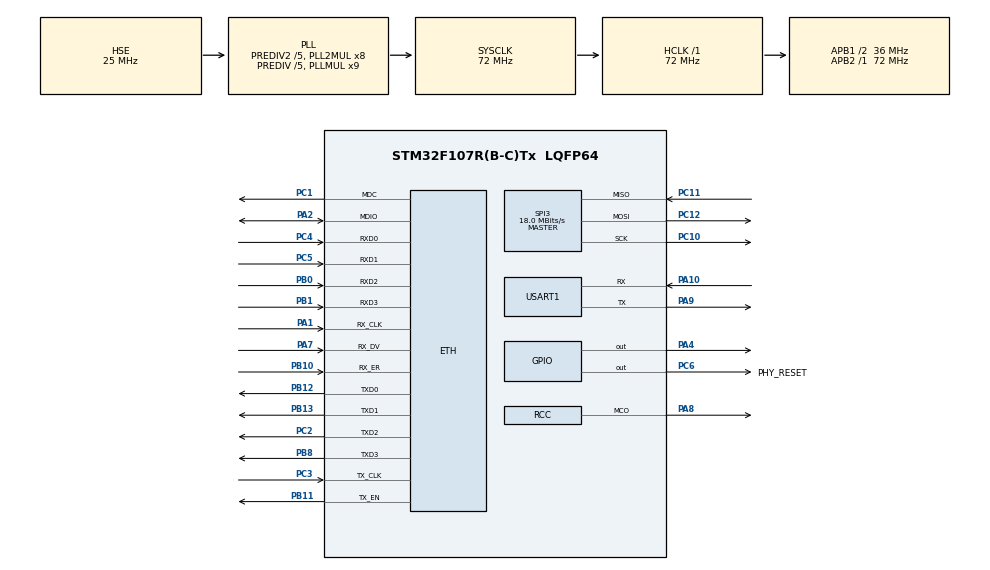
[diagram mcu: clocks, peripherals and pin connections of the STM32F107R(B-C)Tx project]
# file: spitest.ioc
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ETH.MediaInterface=ETH_MEDIA_INTERFACE_MII
LWIP.API_MSG_DEBUG=LWIP_DBG_ON
LWIP.DHCP_DEBUG=LWIP_DBG_ON
LWIP.HTTPD_DEBUG=LWIP_DBG_ON
LWIP.LWIP_HTTPD=1
LWIP.LWIP_HTTPD_CGI=1
LWIP.LWIP_HTTPD_CUSTOM_FILES=1
LWIP.LWIP_HTTPD_DYNAMIC_FILE_READ=1
LWIP.LWIP_HTTPD_DYNAMIC_HEADERS=1
LWIP.LWIP_HTTPD_SSI=1
LWIP.MEMP_NUM_TCP_SEG=24
LWIP.PBUF_DEBUG=LWIP_DBG_ON
LWIP.TCPIP_DEBUG=LWIP_DBG_ON
LWIP.Version=v2.0.0_Cube
Mcu.Family=STM32F1
Mcu.Name=STM32F107R(B-C)Tx
Mcu.Package=LQFP64
NVIC.PriorityGroup=NVIC_PRIORITYGROUP_4
PA1.Mode=MII Full Duplex Only
PA1.Signal=ETH_RX_CLK
PA10.Mode=Asynchronous
PA10.Signal=USART1_RX
PA13.Mode=Serial_Wire
PA13.Signal=SYS_JTMS-SWDIO
PA14.Mode=Serial_Wire
PA14.Signal=SYS_JTCK-SWCLK
PA2.Mode=MII Full Duplex Only
PA2.Signal=ETH_MDIO
PA4.PinState=GPIO_PIN_SET
PA4.Signal=GPIO_Output
PA7.Mode=MII Full Duplex Only
PA7.Signal=ETH_RX_DV
PA8.Mode=Clock-out
PA8.Signal=RCC_MCO
PA9.Mode=Asynchronous
PA9.Signal=USART1_TX
PB0.Mode=MII Full Duplex Only
PB0.Signal=ETH_RXD2
PB1.Mode=MII Full Duplex Only
PB1.Signal=ETH_RXD3
PB10.Mode=Activate Rx Err signal
PB10.Signal=ETH_RX_ER
PB11.Mode=MII Full Duplex Only
PB11.Signal=ETH_TX_EN
PB12.Mode=MII Full Duplex Only
PB12.Signal=ETH_TXD0
PB13.Mode=MII Full Duplex Only
PB13.Signal=ETH_TXD1
PB8.Mode=MII Full Duplex Only
PB8.Signal=ETH_TXD3
PC1.Mode=MII Full Duplex Only
PC1.Signal=ETH_MDC
PC10.Mode=Full_Duplex_Master
PC10.Signal=SPI3_SCK
PC11.Mode=Full_Duplex_Master
PC11.Signal=SPI3_MISO
PC12.Mode=Full_Duplex_Master
PC12.Signal=SPI3_MOSI
PC2.Mode=MII Full Duplex Only
PC2.Signal=ETH_TXD2
PC3.Mode=MII Full Duplex Only
PC3.Signal=ETH_TX_CLK
PC4.Mode=MII Full Duplex Only
PC4.Signal=ETH_RXD0
PC5.Mode=MII Full Duplex Only
PC5.Signal=ETH_RXD1
PC6.GPIO_Label=PHY_RESET
PC6.Signal=GPIO_Output
PD0-OSC_IN.Mode=HSE-External-Oscillator
PD0-OSC_IN.Signal=RCC_OSC_IN
PD1-OSC_OUT.Mode=HSE-External-Oscillator
PD1-OSC_OUT.Signal=RCC_OSC_OUT
ProjectManager.HeapSize=0x200
ProjectManager.StackSize=0x400
ProjectManager.TargetToolchain=MDK-ARM V5
RCC.AHBFreq_Value=72000000
RCC.APB1CLKDivider=RCC_HCLK_DIV2
RCC.APB1Freq_Value=36000000
RCC.APB1TimFreq_Value=72000000
RCC.APB2Freq_Value=72000000
RCC.APB2TimFreq_Value=72000000
RCC.HCLKFreq_Value=72000000
RCC.HSEDivPLL=RCC_HSE_PREDIV_DIV5
RCC.HSE_VALUE=25000000
RCC.PLLMUL=RCC_PLL_MUL9
RCC.PLLSourceVirtual=RCC_PLLSOURCE_HSE
RCC.Prediv1Source=RCC_PREDIV1_SOURCE_PLL2
RCC.Prediv2=RCC_HSE_PREDIV2_DIV5
RCC.RCC_MCOSource=RCC_MCO1SOURCE_HSE
RCC.SYSCLKFreq_VALUE=72000000
RCC.SYSCLKSource=RCC_SYSCLKSOURCE_PLLCLK
RCC.USBFreq_Value=48000000
SPI3.CalculateBaudRate=18.0 MBits/s
SPI3.Direction=SPI_DIRECTION_2LINES
SPI3.Mode=SPI_MODE_MASTER
SPI3.VirtualType=VM_MASTER
USART1.VirtualMode=VM_ASYNC
VP_LWIP_VS_Enabled.Mode=Enabled
board=custom

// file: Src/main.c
/* USER CODE BEGIN Header */
/**
  ******************************************************************************
  * @file           : main.c
  * @brief          : Main program body
  ******************************************************************************
  ** This notice applies to any and all portions of this file
  * that are not between comment pairs USER CODE BEGIN and
  * USER CODE END. Other portions of this file, whether
  * inserted by the user or by software development tools
  * are owned by their respective copyright owners.
  *
  * COPYRIGHT(c) 2018 STMicroelectronics
  *
  * Redistribution and use in source and binary forms, with or without modification,
  * are permitted provided that the following conditions are met:
  *   1. Redistributions of source code must retain the above copyright notice,
  *      this list of conditions and the following disclaimer.
  *   2. Redistributions in binary form must reproduce the above copyright notice,
  *      this list of conditions and the following disclaimer in the documentation
  *      and/or other materials provided with the distribution.
  *   3. Neither the name of STMicroelectronics nor the names of its contributors
  *      may be used to endorse or promote products derived from this software
  *      without specific prior written permission.
  *
  * THIS SOFTWARE IS PROVIDED BY THE COPYRIGHT HOLDERS AND CONTRIBUTORS "AS IS"
  * AND ANY EXPRESS OR IMPLIED WARRANTIES, INCLUDING, BUT NOT LIMITED TO, THE
  * IMPLIED WARRANTIES OF MERCHANTABILITY AND FITNESS FOR A PARTICULAR PURPOSE ARE
  * DISCLAIMED. IN NO EVENT SHALL THE COPYRIGHT HOLDER OR CONTRIBUTORS BE LIABLE
  * FOR ANY DIRECT, INDIRECT, INCIDENTAL, SPECIAL, EXEMPLARY, OR CONSEQUENTIAL
  * DAMAGES (INCLUDING, BUT NOT LIMITED TO, PROCUREMENT OF SUBSTITUTE GOODS OR
  * SERVICES; LOSS OF USE, DATA, OR PROFITS; OR BUSINESS INTERRUPTION) HOWEVER
  * CAUSED AND ON ANY THEORY OF LIABILITY, WHETHER IN CONTRACT, STRICT LIABILITY,
  * OR TORT (INCLUDING NEGLIGENCE OR OTHERWISE) ARISING IN ANY WAY OUT OF THE USE
  * OF THIS SOFTWARE, EVEN IF ADVISED OF THE POSSIBILITY OF SUCH DAMAGE.
  *
  ******************************************************************************
  */
/* USER CODE END Header */

#include "main.h"
#include "lwip.h"
#include "spi.h"
#include "usart.h"
#include "gpio.h"

/* USER CODE BEGIN Includes */
#include "string.h"
#include "w25qxx.h"
#include "lfs.h"
#include "lwip/apps/httpd.h"
#include "lwip/apps/tftp_server.h"
#include "lwip/apps/fs.h"
#include "fsdata.h"

/* USER CODE END Includes */

/* USER CODE BEGIN PTD */

int block_device_read(const struct lfs_config *cfg, lfs_block_t block,
        lfs_off_t off, void *buffer, lfs_size_t size)
{
	W25qxx_ReadBytes((uint8_t*)buffer, (block * cfg->block_size) + off, size);
	return 0;
}

int block_device_prog(const struct lfs_config *c, lfs_block_t block,
	lfs_off_t off, const void *buffer, lfs_size_t size)
{
	W25qxx_WriteNoCheck((uint8_t*)buffer, (block * c->block_size + off), size);

	return 0;
}

int block_device_erase(const struct lfs_config *c, lfs_block_t block)
{
	W25qxx_EraseSector(block * c->block_size);

	return 0;
}

int block_device_sync(const struct lfs_config *c)
{
	return 0;
}

lfs_t lfs;
lfs_file_t file;
struct lfs_config cfg;
struct lfs_info info;

uint8_t lfs_read_buf[2048] = {0};
uint8_t lfs_prog_buf[2048]= {0};
uint8_t lfs_lookahead_buf[2048]= {0};	// 128/8=16
uint8_t lfs_file_buf[2048]= {0};

void LFS_Config(void)
{
	// block device operations
	cfg.read  = &block_device_read;
	cfg.prog  = &block_device_prog;
	cfg.erase = &block_device_erase;
	cfg.sync  = &block_device_sync;

	// block device configuration
	cfg.read_size = 2048;
	cfg.prog_size = 2048;
	cfg.block_size = 4096;
	cfg.block_count = 4096;
	cfg.lookahead = 1024;

	cfg.read_buffer = lfs_read_buf;
	cfg.prog_buffer = lfs_prog_buf;
	cfg.lookahead_buffer = lfs_lookahead_buf;
	cfg.file_buffer = lfs_file_buf;
}

struct tftp_context tftpctx;

void* tftp_open(const char* fname, const char* mode, u8_t write)
{
	lfs_file_t *file = malloc(sizeof(lfs_file_t));
	memset(file,0,sizeof(lfs_file_t));

	printf("tftp open file name = %s\n\r",fname);

	int resopen = lfs_file_open(&lfs, file, fname, write==0 ? LFS_O_RDONLY : LFS_O_RDWR|LFS_O_CREAT);
	printf("tftp open file resopn = %d\n\r",resopen);
	if (resopen >= 0) return (void*)file;
	else return NULL;
}

void tftp_close(void* handle)
{
	lfs_file_t *file = (lfs_file_t*)handle;
  lfs_file_close(&lfs, file);
	free(file);

}

int tftp_read(void* handle, void* buf, int bytes)
{
	lfs_file_t *file = (lfs_file_t*)handle;

  if(file->pos == file->size) {
    return FS_READ_EOF;
  }
	else
	{
		return lfs_file_read(&lfs, file, buf, bytes);
	}
}

int tftp_write(void* handle, struct pbuf* p)
{
	lfs_file_t *file = (lfs_file_t*)handle;
	return lfs_file_write(&lfs, file, p->payload, p->len);
}

void TFTP_Config(void)
{
	tftpctx.open = tftp_open;
	tftpctx.close = tftp_close;
	tftpctx.read = tftp_read;
	tftpctx.write = tftp_write;

}

/* USER CODE END PTD */

void SystemClock_Config(void);

int main(void)
{

  /* MCU Configuration--------------------------------------------------------*/

  /* Reset of all peripherals, Initializes the Flash interface and the Systick. */
  HAL_Init();

  /* Configure the system clock */
  SystemClock_Config();

  /* Initialize all configured peripherals */
  MX_GPIO_Init();
  MX_SPI3_Init();
  MX_USART1_UART_Init();
  MX_LWIP_Init();
  /* USER CODE BEGIN 2 */

		uint8_t pbuf[256];

	//HAL_Delay(4000);

	uint32_t	id;

	while(HAL_GetTick()<100)
		HAL_Delay(1);

	id = W25qxx_ReadID();

	W25qxx_Init();

	//W25qxx_ReadPage(pbuf,0,0,0);

	W25qxx_ReadPage(pbuf,0,0,0);

  printf("\n\r welcome to www.waveshere.com !!!\n\r");
	printf("\n\r 1 FALSH ID =  %x", id);
	printf("\n\r 2 FALSH ID =  %x", W25qxx_ReadID());
	printf("\n\r 3 FALSH ID =  %x", W25qxx_ReadID());

	printf("\n\r From flash init id = %x \n\r", w25qxx.ID);
	printf("\n\r Read byte from flash = %x \n\r", pbuf[56]);

	LFS_Config();

	// mount the filesystem
    int err = lfs_mount(&lfs, &cfg);

    // reformat if we can't mount the filesystem
    // this should only happen on the first boot
    if (err) {
			  printf("Error - try format spi flash \n\r");
        lfs_format(&lfs, &cfg);
			  printf("Format ended - try mount flash \n\r");
        err = lfs_mount(&lfs, &cfg);
			  if (err) {
					printf("Mount error after format - go loop \n\r");
				}
				printf("Format ended - mount good \n\r");

    }

		// read current count
    uint32_t boot_count = 0;
    lfs_file_open(&lfs, &file, "boot_count", LFS_O_RDWR | LFS_O_CREAT);
    lfs_file_read(&lfs, &file, &boot_count, sizeof(boot_count));

    // update boot count

		//char *bufa;
    boot_count += 1;
    lfs_file_rewind(&lfs, &file);
    lfs_file_write(&lfs, &file, &boot_count, sizeof(boot_count));

    // remember the storage is not updated until the file is closed successfully
    lfs_file_close(&lfs, &file);

    // release any resources we were using

    // print the boot count
    printf("boot_count: %d\n\r", boot_count);

		httpd_init();

		TFTP_Config();

		tftp_init(&tftpctx);

  /* USER CODE END 2 */

  /* Infinite loop */
  while (1)
  {

    /* USER CODE BEGIN 3 */
		MX_LWIP_Process();
  }
  /* USER CODE END 3 */
}

void SystemClock_Config(void)
{
  RCC_OscInitTypeDef RCC_OscInitStruct = {0};
  RCC_ClkInitTypeDef RCC_ClkInitStruct = {0};

  /**Initializes the CPU, AHB and APB busses clocks
  */
  RCC_OscInitStruct.OscillatorType = RCC_OSCILLATORTYPE_HSE;
  RCC_OscInitStruct.HSEState = RCC_HSE_ON;
  RCC_OscInitStruct.HSEPredivValue = RCC_HSE_PREDIV_DIV5;
  RCC_OscInitStruct.HSIState = RCC_HSI_ON;
  RCC_OscInitStruct.Prediv1Source = RCC_PREDIV1_SOURCE_PLL2;
  RCC_OscInitStruct.PLL.PLLState = RCC_PLL_ON;
  RCC_OscInitStruct.PLL.PLLSource = RCC_PLLSOURCE_HSE;
  RCC_OscInitStruct.PLL.PLLMUL = RCC_PLL_MUL9;
  RCC_OscInitStruct.PLL2.PLL2State = RCC_PLL2_ON;
  RCC_OscInitStruct.PLL2.PLL2MUL = RCC_PLL2_MUL8;
  RCC_OscInitStruct.PLL2.HSEPrediv2Value = RCC_HSE_PREDIV2_DIV5;
  if (HAL_RCC_OscConfig(&RCC_OscInitStruct) != HAL_OK)
  {
    Error_Handler();
  }
  /**Initializes the CPU, AHB and APB busses clocks
  */
  RCC_ClkInitStruct.ClockType = RCC_CLOCKTYPE_HCLK|RCC_CLOCKTYPE_SYSCLK
                              |RCC_CLOCKTYPE_PCLK1|RCC_CLOCKTYPE_PCLK2;
  RCC_ClkInitStruct.SYSCLKSource = RCC_SYSCLKSOURCE_PLLCLK;
  RCC_ClkInitStruct.AHBCLKDivider = RCC_SYSCLK_DIV1;
  RCC_ClkInitStruct.APB1CLKDivider = RCC_HCLK_DIV2;
  RCC_ClkInitStruct.APB2CLKDivider = RCC_HCLK_DIV1;

  if (HAL_RCC_ClockConfig(&RCC_ClkInitStruct, FLASH_LATENCY_2) != HAL_OK)
  {
    Error_Handler();
  }
  HAL_RCC_MCOConfig(RCC_MCO, RCC_MCO1SOURCE_HSE, RCC_MCODIV_1);
  /**Configure the Systick interrupt time
  */
  __HAL_RCC_PLLI2S_ENABLE();
}

void Error_Handler(void)
{
}

/************************ (C) COPYRIGHT STMicroelectronics *****END OF FILE****/
